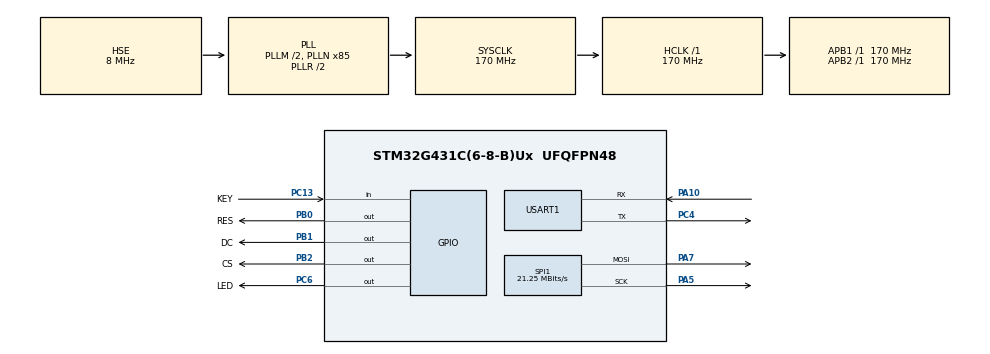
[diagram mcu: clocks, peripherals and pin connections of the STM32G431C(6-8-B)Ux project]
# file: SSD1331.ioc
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Mcu.Family=STM32G4
Mcu.Name=STM32G431C(6-8-B)Ux
Mcu.Package=UFQFPN48
NVIC.PriorityGroup=NVIC_PRIORITYGROUP_4
PA10.Mode=Asynchronous
PA10.Signal=USART1_RX
PA13.Mode=Trace_Asynchronous_SW
PA13.Signal=SYS_JTMS-SWDIO
PA14.Mode=Trace_Asynchronous_SW
PA14.Signal=SYS_JTCK-SWCLK
PA5.Mode=TX_Only_Simplex_Unidirect_Master
PA5.Signal=SPI1_SCK
PA7.Mode=TX_Only_Simplex_Unidirect_Master
PA7.Signal=SPI1_MOSI
PB0.GPIO_Label=RES
PB0.PinState=GPIO_PIN_SET
PB0.Signal=GPIO_Output
PB1.GPIO_Label=DC
PB1.Signal=GPIO_Output
PB2.GPIO_Label=CS
PB2.Signal=GPIO_Output
PB3.Mode=Trace_Asynchronous_SW
PB3.Signal=SYS_JTDO-SWO
PC13.GPIO_Label=KEY
PC13.GPIO_PuPd=GPIO_PULLDOWN
PC13.Signal=GPIO_Input
PC4.Mode=Asynchronous
PC4.Signal=USART1_TX
PC6.GPIO_Label=LED
PC6.GPIO_ModeDefaultOutputPP=GPIO_MODE_OUTPUT_PP
PC6.GPIO_Speed=GPIO_SPEED_FREQ_LOW
PC6.PinState=GPIO_PIN_RESET
PC6.Signal=GPIO_Output
PF0-OSC_IN.Mode=HSE-External-Oscillator
PF0-OSC_IN.Signal=RCC_OSC_IN
PF1-OSC_OUT.Mode=HSE-External-Oscillator
PF1-OSC_OUT.Signal=RCC_OSC_OUT
ProjectManager.HeapSize=0x200
ProjectManager.StackSize=0x400
ProjectManager.TargetToolchain=STM32CubeIDE
RCC.ADC12Freq_Value=170000000
RCC.AHBFreq_Value=170000000
RCC.APB1Freq_Value=170000000
RCC.APB1TimFreq_Value=170000000
RCC.APB2Freq_Value=170000000
RCC.APB2TimFreq_Value=170000000
RCC.CortexFreq_Value=170000000
RCC.EXTERNAL_CLOCK_VALUE=12288000
RCC.HCLKFreq_Value=170000000
RCC.HSE_VALUE=8000000
RCC.HSI48_VALUE=48000000
RCC.HSI_VALUE=16000000
RCC.LSE_VALUE=32768
RCC.PLLM=RCC_PLLM_DIV2
RCC.PLLN=85
RCC.PLLSourceVirtual=RCC_PLLSOURCE_HSE
RCC.SYSCLKFreq_VALUE=170000000
RCC.SYSCLKSource=RCC_SYSCLKSOURCE_PLLCLK
RCC.USBFreq_Value=170000000
RCC.VCOOutputFreq_Value=340000000
SPI1.BaudRatePrescaler=SPI_BAUDRATEPRESCALER_8
SPI1.CalculateBaudRate=21.25 MBits/s
SPI1.DataSize=SPI_DATASIZE_8BIT
SPI1.Direction=SPI_DIRECTION_2LINES
SPI1.Mode=SPI_MODE_MASTER
SPI1.VirtualType=VM_MASTER
USART1.VirtualMode-Asynchronous=VM_ASYNC
VP_SYS_VS_DBSignals.Mode=DisableDeadBatterySignals
board=custom

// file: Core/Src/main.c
/* USER CODE BEGIN Header */
/**
  ******************************************************************************
  * @file           : main.c
  * @brief          : Main program body
  ******************************************************************************
  * @attention
  *
  * Copyright (c) 2025 STMicroelectronics.
  * All rights reserved.
  *
  * This software is licensed under terms that can be found in the LICENSE file
  * in the root directory of this software component.
  * If no LICENSE file comes with this software, it is provided AS-IS.
  *
  ******************************************************************************
  */
/* USER CODE END Header */
#include "main.h"

/* USER CODE BEGIN Includes */
#include "stdio.h"
#include "ssd1331.h"
#include "img.h"
/* USER CODE END Includes */

SPI_HandleTypeDef hspi1;

UART_HandleTypeDef huart1;

void SystemClock_Config(void);
static void MX_GPIO_Init(void);
static void MX_USART1_UART_Init(void);
static void MX_SPI1_Init(void);

/* USER CODE BEGIN 0 */

void wait_and_clear(SSD1331Struct * ssd13321) {
    HAL_Delay(1000);
    // clear display
    SSD1331_DrawRect(ssd13321, 0,0,96,64, COLOR_BLACK, COLOR_BLACK);
    HAL_Delay(500);
}

/* USER CODE END 0 */

int main(void)
{

  /* USER CODE BEGIN 1 */

	char buffer[40];
	char i;
	const char *str_link ="blog.avislab.com";

	SSD1331Struct Display;

  /* USER CODE END 1 */

  /* MCU Configuration--------------------------------------------------------*/

  /* Reset of all peripherals, Initializes the Flash interface and the Systick. */
  HAL_Init();

  /* Configure the system clock */
  SystemClock_Config();

  /* Initialize all configured peripherals */
  MX_GPIO_Init();
  MX_USART1_UART_Init();
  MX_SPI1_Init();
  /* USER CODE BEGIN 2 */

  	Display.hspi = hspi1;
  	Display.RSRPort = RES_GPIO_Port;
  	Display.RSTPin = RES_Pin;
  	Display.DCPort = DC_GPIO_Port;
  	Display.DCTPin = DC_Pin;
  	Display.CSPort = CS_GPIO_Port;
  	Display.CSPin = CS_Pin;

	SSD1331_Init(&Display);

	wait_and_clear(&Display);

	// Draw Lines
	for (i = 0; i < 24; i++) {
		SSD1331_DrawLine(&Display, 0, 0, i*4, 64, RGB(i*10,0,0));
		SSD1331_DrawLine(&Display, 96, 0, i*4, 64, RGB(i*10,0,0));
		HAL_Delay(20);
	}
	wait_and_clear(&Display);

	// Draw Circles
	SSD1331_DrawCircle(&Display, 48, 32, 5, COLOR_BLUE);
	HAL_Delay(50);
	SSD1331_DrawCircle(&Display, 48, 32, 10, COLOR_GOLDEN);
	HAL_Delay(50);
	SSD1331_DrawCircle(&Display, 48, 32, 15, COLOR_BLUE);
	HAL_Delay(50);
	SSD1331_DrawCircle(&Display, 48, 32, 20, COLOR_GOLDEN);
	HAL_Delay(50);
	SSD1331_DrawCircle(&Display, 48, 32, 25, COLOR_BLUE);
	HAL_Delay(50);
	SSD1331_DrawCircle(&Display, 48, 32, 30, COLOR_GOLDEN);
	wait_and_clear(&Display);

	// Draw Rects
	for (i = 0; i < 5; i++) {
		SSD1331_DrawRect(&Display, i*5, i*5, 96-i*5, 64-i*5, COLOR_RED, COLOR_YELLOW);
		HAL_Delay(20);
	}
	SSD1331_DrawRect(&Display, 25, 25, 71, 39, COLOR_BLUE, COLOR_GREEN);
	wait_and_clear(&Display);

	// Text FONT_1X
	SSD1331_SetTextPos(&Display, 0,0);
	for (i = 33; i < 126; i++) {
		SSD1331_Chr(&Display, FONT_1X, i, COLOR_BLUE, COLOR_BLACK);
		SSD1331_IncPos(&Display, FONT_1X);
	}
	wait_and_clear(&Display);

	// Text FONT_2X
	SSD1331_SetTextPos(&Display, 0,0);
	for (i = 33; i < 64; i++) {
		SSD1331_Chr(&Display, FONT_2X, i, COLOR_BROWN, COLOR_BLACK);
		SSD1331_IncPos(&Display, FONT_2X);
	}
	wait_and_clear(&Display);

	// Numeric FONT_2X
	sprintf(buffer, "%s", "3758");
		SSD1331_SetTextPos(&Display, 0, 0);
		SSD1331_Print(&Display, FONT_2X,(unsigned char*)buffer, COLOR_WHITE, COLOR_BLACK);
	wait_and_clear(&Display);

	// Numeric FONT_4X
	SSD1331_SetTextPos(&Display, 0, 0);
	SSD1331_Print(&Display, FONT_4X,(unsigned char*)buffer, COLOR_YELLOW, COLOR_BLACK);
	wait_and_clear(&Display);

	// Images
	SSD1331_Image(&Display, IMG0, 0,0, 96,64);
	wait_and_clear(&Display);

	SSD1331_Image(&Display, IMG1, 16,0, 64,64);
	wait_and_clear(&Display);

	// Copy window
	SSD1331_Image(&Display, IMG3, 32,16, 32,32);
	SSD1331_CopyWindow(&Display, 32,16,64,48, 0,0);
	wait_and_clear(&Display);

	// Scrolling
	SSD1331_Image(&Display, IMG2, 23,7, 50,50);
	SSD1331_SetScrolling(&Display, Horizontal, 0, 64, 1);
	SSD1331_EnableScrolling(&Display, TRUE);

	wait_and_clear(&Display);
	SSD1331_EnableScrolling(&Display, FALSE);
	// Text from Flash
	SSD1331_SetTextPos(&Display, 0, 24);
	SSD1331_FPrint(&Display, FONT_1X,(unsigned char*)str_link, COLOR_BLUE, COLOR_BLACK);

  /* USER CODE END 2 */

  /* Infinite loop */
  /* USER CODE BEGIN WHILE */
  while (1)
  {
	  HAL_GPIO_TogglePin(LED_GPIO_Port, LED_Pin);
	  HAL_Delay(500);
    /* USER CODE END WHILE */

  }
}

void SystemClock_Config(void)
{
  RCC_OscInitTypeDef RCC_OscInitStruct = {0};
  RCC_ClkInitTypeDef RCC_ClkInitStruct = {0};

  /** Configure the main internal regulator output voltage
  */
  HAL_PWREx_ControlVoltageScaling(PWR_REGULATOR_VOLTAGE_SCALE1_BOOST);

  /** Initializes the RCC Oscillators according to the specified parameters
  * in the RCC_OscInitTypeDef structure.
  */
  RCC_OscInitStruct.OscillatorType = RCC_OSCILLATORTYPE_HSE;
  RCC_OscInitStruct.HSEState = RCC_HSE_ON;
  RCC_OscInitStruct.PLL.PLLState = RCC_PLL_ON;
  RCC_OscInitStruct.PLL.PLLSource = RCC_PLLSOURCE_HSE;
  RCC_OscInitStruct.PLL.PLLM = RCC_PLLM_DIV2;
  RCC_OscInitStruct.PLL.PLLN = 85;
  RCC_OscInitStruct.PLL.PLLP = RCC_PLLP_DIV2;
  RCC_OscInitStruct.PLL.PLLQ = RCC_PLLQ_DIV2;
  RCC_OscInitStruct.PLL.PLLR = RCC_PLLR_DIV2;
  if (HAL_RCC_OscConfig(&RCC_OscInitStruct) != HAL_OK)
  {
    Error_Handler();
  }

  /** Initializes the CPU, AHB and APB buses clocks
  */
  RCC_ClkInitStruct.ClockType = RCC_CLOCKTYPE_HCLK|RCC_CLOCKTYPE_SYSCLK
                              |RCC_CLOCKTYPE_PCLK1|RCC_CLOCKTYPE_PCLK2;
  RCC_ClkInitStruct.SYSCLKSource = RCC_SYSCLKSOURCE_PLLCLK;
  RCC_ClkInitStruct.AHBCLKDivider = RCC_SYSCLK_DIV1;
  RCC_ClkInitStruct.APB1CLKDivider = RCC_HCLK_DIV1;
  RCC_ClkInitStruct.APB2CLKDivider = RCC_HCLK_DIV1;

  if (HAL_RCC_ClockConfig(&RCC_ClkInitStruct, FLASH_LATENCY_4) != HAL_OK)
  {
    Error_Handler();
  }
}

static void MX_SPI1_Init(void)
{

  /* SPI1 parameter configuration*/
  hspi1.Instance = SPI1;
  hspi1.Init.Mode = SPI_MODE_MASTER;
  hspi1.Init.Direction = SPI_DIRECTION_2LINES;
  hspi1.Init.DataSize = SPI_DATASIZE_8BIT;
  hspi1.Init.CLKPolarity = SPI_POLARITY_LOW;
  hspi1.Init.CLKPhase = SPI_PHASE_1EDGE;
  hspi1.Init.NSS = SPI_NSS_SOFT;
  hspi1.Init.BaudRatePrescaler = SPI_BAUDRATEPRESCALER_8;
  hspi1.Init.FirstBit = SPI_FIRSTBIT_MSB;
  hspi1.Init.TIMode = SPI_TIMODE_DISABLE;
  hspi1.Init.CRCCalculation = SPI_CRCCALCULATION_DISABLE;
  hspi1.Init.CRCPolynomial = 7;
  hspi1.Init.CRCLength = SPI_CRC_LENGTH_DATASIZE;
  hspi1.Init.NSSPMode = SPI_NSS_PULSE_ENABLE;
  if (HAL_SPI_Init(&hspi1) != HAL_OK)
  {
    Error_Handler();
  }

}

static void MX_USART1_UART_Init(void)
{

  huart1.Instance = USART1;
  huart1.Init.BaudRate = 115200;
  huart1.Init.WordLength = UART_WORDLENGTH_8B;
  huart1.Init.StopBits = UART_STOPBITS_1;
  huart1.Init.Parity = UART_PARITY_NONE;
  huart1.Init.Mode = UART_MODE_TX_RX;
  huart1.Init.HwFlowCtl = UART_HWCONTROL_NONE;
  huart1.Init.OverSampling = UART_OVERSAMPLING_16;
  huart1.Init.OneBitSampling = UART_ONE_BIT_SAMPLE_DISABLE;
  huart1.Init.ClockPrescaler = UART_PRESCALER_DIV1;
  huart1.AdvancedInit.AdvFeatureInit = UART_ADVFEATURE_NO_INIT;
  if (HAL_UART_Init(&huart1) != HAL_OK)
  {
    Error_Handler();
  }
  if (HAL_UARTEx_SetTxFifoThreshold(&huart1, UART_TXFIFO_THRESHOLD_1_8) != HAL_OK)
  {
    Error_Handler();
  }
  if (HAL_UARTEx_SetRxFifoThreshold(&huart1, UART_RXFIFO_THRESHOLD_1_8) != HAL_OK)
  {
    Error_Handler();
  }
  if (HAL_UARTEx_DisableFifoMode(&huart1) != HAL_OK)
  {
    Error_Handler();
  }

}

static void MX_GPIO_Init(void)
{
  GPIO_InitTypeDef GPIO_InitStruct = {0};

  /* GPIO Ports Clock Enable */
  __HAL_RCC_GPIOC_CLK_ENABLE();
  __HAL_RCC_GPIOF_CLK_ENABLE();
  __HAL_RCC_GPIOA_CLK_ENABLE();
  __HAL_RCC_GPIOB_CLK_ENABLE();

  /*Configure GPIO pin Output Level */
  HAL_GPIO_WritePin(RES_GPIO_Port, RES_Pin, GPIO_PIN_SET);

  /*Configure GPIO pin Output Level */
  HAL_GPIO_WritePin(GPIOB, DC_Pin|CS_Pin, GPIO_PIN_RESET);

  /*Configure GPIO pin Output Level */
  HAL_GPIO_WritePin(LED_GPIO_Port, LED_Pin, GPIO_PIN_RESET);

  /*Configure GPIO pin : KEY_Pin */
  GPIO_InitStruct.Pin = KEY_Pin;
  GPIO_InitStruct.Mode = GPIO_MODE_INPUT;
  GPIO_InitStruct.Pull = GPIO_PULLDOWN;
  HAL_GPIO_Init(KEY_GPIO_Port, &GPIO_InitStruct);

  /*Configure GPIO pins : RES_Pin DC_Pin CS_Pin */
  GPIO_InitStruct.Pin = RES_Pin|DC_Pin|CS_Pin;
  GPIO_InitStruct.Mode = GPIO_MODE_OUTPUT_PP;
  GPIO_InitStruct.Pull = GPIO_NOPULL;
  GPIO_InitStruct.Speed = GPIO_SPEED_FREQ_LOW;
  HAL_GPIO_Init(GPIOB, &GPIO_InitStruct);

  /*Configure GPIO pin : LED_Pin */
  GPIO_InitStruct.Pin = LED_Pin;
  GPIO_InitStruct.Mode = GPIO_MODE_OUTPUT_PP;
  GPIO_InitStruct.Pull = GPIO_NOPULL;
  GPIO_InitStruct.Speed = GPIO_SPEED_FREQ_LOW;
  HAL_GPIO_Init(LED_GPIO_Port, &GPIO_InitStruct);

}

void Error_Handler(void)
{
  __disable_irq();
  while (1)
  {
  }
}
